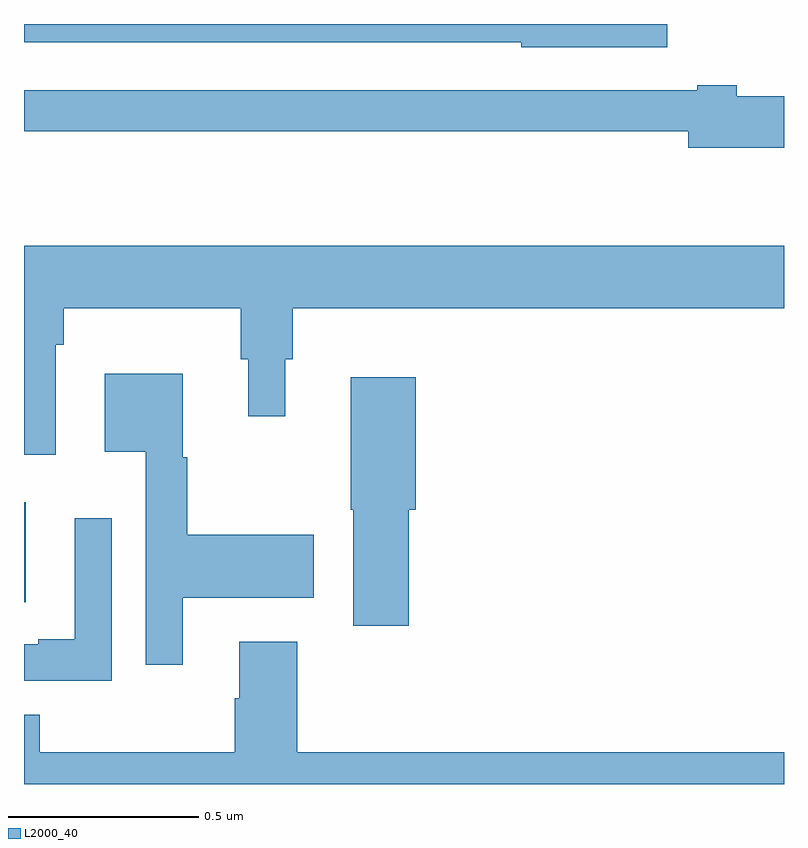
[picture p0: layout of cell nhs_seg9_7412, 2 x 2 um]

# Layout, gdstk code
import gdstk
lib = gdstk.Library(unit=1e-6, precision=1e-09)
def R(c, l, rs):  # rectangles x0, y0, x1, y1
    for r in rs: c.add(gdstk.rectangle(r[:2], r[2:], *l))
def P(c, l, *ps):  # polygons
    for p in ps: c.add(gdstk.Polygon(p, *l))
L2000_40 = (2000, 40)

nhs_seg9_7412 = lib.new_cell('nhs_seg9_7412')
R(nhs_seg9_7412, L2000_40, [(204,1196.978,204.004,1197.241)])
P(nhs_seg9_7412, L2000_40, [(205.693,1198.5),(204,1198.5),(204,1198.452),(205.308,1198.452),(205.308,1198.439),(205.693,1198.439)],
  [(206,1198.31),(205.876,1198.31),(205.876,1198.339),(205.772,1198.339),(205.772,1198.326),(204,1198.326),(204,1198.218),(205.748,1198.218),(205.748,1198.175),(206,1198.175)],
  [(204,1197.366),(204.084,1197.366),(204.084,1197.656),(204.104,1197.656),(204.104,1197.752),(204.571,1197.752),(204.571,1197.618),(204.59,1197.618),(204.59,1197.468),(204.688,1197.468),(204.688,1197.618),(204.707,1197.618),(204.707,1197.752),(206,1197.752),(206,1197.916),(204,1197.916)],
  [(204.418,1196.99),(204.763,1196.99),(204.763,1197.156),(204.43,1197.156),(204.43,1197.36),(204.418,1197.36),(204.418,1197.58),(204.212,1197.58),(204.212,1197.374),(204.321,1197.374),(204.321,1196.814),(204.418,1196.814)],
  [(205.013,1197.222),(205.031,1197.222),(205.031,1197.571),(204.86,1197.571),(204.86,1197.222),(204.866,1197.222),(204.866,1196.916),(205.013,1196.916)],
  [(204.231,1197.199),(204.134,1197.199),(204.134,1196.881),(204.038,1196.881),(204.038,1196.868),(204,1196.868),(204,1196.772),(204.231,1196.772)],
  [(206,1196.584),(204.719,1196.584),(204.719,1196.875),(204.566,1196.875),(204.566,1196.726),(204.554,1196.726),(204.554,1196.584),(204.041,1196.584),(204.041,1196.682),(204,1196.682),(204,1196.5),(206,1196.5)])

lib.write_gds('nhs_seg9_7412.gds')
